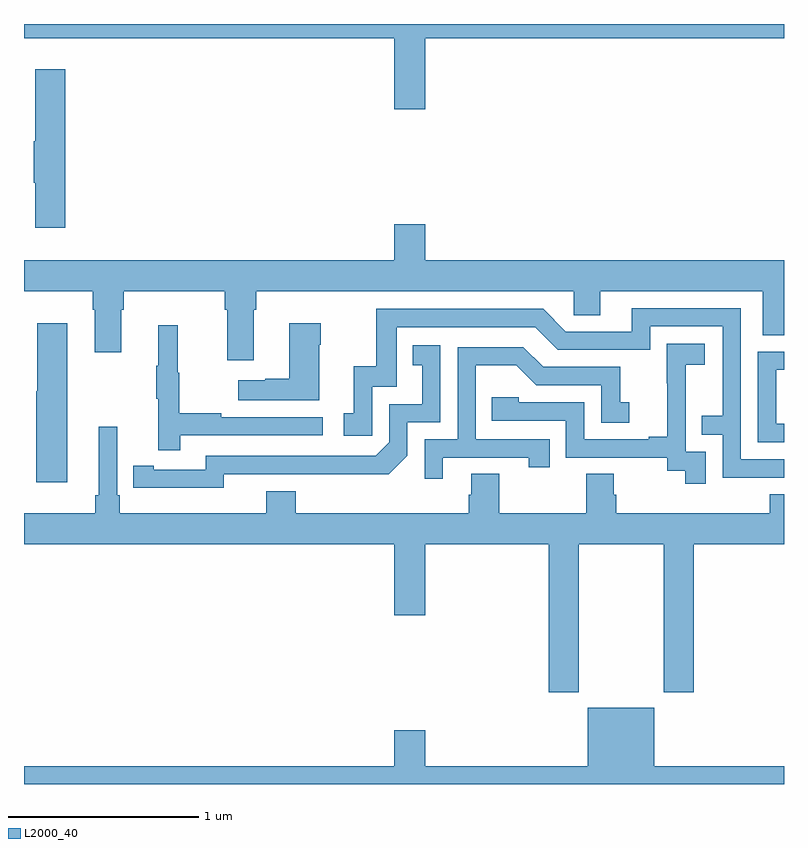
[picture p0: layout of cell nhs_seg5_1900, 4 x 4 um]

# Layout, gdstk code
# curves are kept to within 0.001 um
import gdstk
lib = gdstk.Library(unit=1e-6, precision=1e-09)
def P(c, l, *ps):  # polygons
    for p in ps: c.add(gdstk.Polygon(p, *l))
L2000_40 = (2000, 40)

nhs_seg5_1900 = lib.new_cell('nhs_seg5_1900')
P(nhs_seg5_1900, L2000_40, [(225.112,892.724),(227,892.724),(227,892.799),(223,892.799),(223,892.724),(224.948,892.724),(224.948,892.35),(225.112,892.35)],
  [(223.217,892.561),(223.058,892.561),(223.058,892.181),(223.051,892.181),(223.051,891.964),(223.058,891.964),(223.058,891.726),(223.217,891.726)],
  [(224.209,891.296),(224.222,891.296),(224.222,891.392),(225.894,891.392),(225.894,891.265),(226.033,891.265),(226.033,891.392),(226.889,891.392),(226.889,891.16),(227,891.16),(227,891.556),(225.112,891.556),(225.112,891.745),(224.948,891.745),(224.948,891.556),(223,891.556),(223,891.392),(223.361,891.392),(223.361,891.296),(223.373,891.296),(223.373,891.072),(223.513,891.072),(223.513,891.296),(223.526,891.296),(223.526,891.392),(224.057,891.392),(224.057,891.296),(224.069,891.296),(224.069,891.03),(224.209,891.03)],
  [(227,890.508),(226.773,890.508),(226.773,891.303),(226.199,891.303),(226.199,891.18),(225.852,891.18),(225.732,891.3),(224.853,891.3),(224.853,890.998),(224.735,890.998),(224.735,890.751),(224.682,890.751),(224.682,890.631),(224.832,890.631),(224.832,890.889),(224.961,890.889),(224.961,891.204),(225.69,891.204),(225.81,891.084),(226.296,891.084),(226.296,891.207),(226.677,891.207),(226.677,890.738),(226.567,890.738),(226.567,890.637),(226.677,890.637),(226.677,890.412),(227,890.412)],
  [(223.228,891.223),(223.07,891.223),(223.07,890.865),(223.064,890.865),(223.064,890.388),(223.228,890.388)],
  [(224.554,891.11),(224.562,891.11),(224.562,891.223),(224.396,891.223),(224.396,890.933),(224.27,890.933),(224.27,890.923),(224.127,890.923),(224.127,890.819),(224.554,890.819)],
  [(223.823,890.634),(224.572,890.634),(224.572,890.73),(224.039,890.73),(224.039,890.75),(223.816,890.75),(223.816,890.964),(223.808,890.964),(223.808,891.214),(223.706,891.214),(223.706,891.001),(223.695,891.001),(223.695,890.827),(223.706,890.827),(223.706,890.556),(223.823,890.556)],
  [(226.587,890.547),(226.482,890.547),(226.482,890.777),(226.484,890.777),(226.484,891.005),(226.582,891.005),(226.582,891.115),(226.384,891.115),(226.384,890.909),(226.385,890.909),(226.385,890.626),(226.289,890.626),(226.289,890.613),(225.948,890.613),(225.948,890.808),(225.603,890.808),(225.603,890.835),(225.463,890.835),(225.463,890.712),(225.852,890.712),(225.852,890.517),(226.386,890.517),(226.386,890.449),(226.479,890.449),(226.479,890.379),(226.587,890.379)],
  [(224.052,890.43),(224.92,890.429),(225.018,890.526),(225.018,890.703),(225.192,890.703),(225.192,891.109),(225.046,891.109),(225.046,891.003),(225.095,891.003),(225.095,890.799),(224.922,890.799),(224.922,890.598),(224.85,890.526),(223.956,890.526),(223.956,890.454),(223.684,890.454),(223.684,890.474),(223.576,890.474),(223.576,890.358),(224.052,890.357)],
  [(225.205,890.517),(225.656,890.517),(225.656,890.466),(225.767,890.466),(225.767,890.613),(225.378,890.613),(225.378,891.002),(225.592,891.002),(225.696,890.898),(226.038,890.898),(226.038,890.7),(226.186,890.7),(226.186,890.809),(226.137,890.809),(226.137,890.994),(225.733,890.994),(225.628,891.099),(225.282,891.099),(225.282,890.613),(225.108,890.613),(225.108,890.406),(225.205,890.406)],
  [(227,890.694),(226.959,890.694),(226.959,890.979),(227,890.979),(227,891.075),(226.863,891.075),(226.863,890.598),(227,890.598)],
  [(225.921,890.06),(226.366,890.06),(226.366,889.281),(226.526,889.281),(226.526,890.06),(227,890.06),(227,890.323),(226.925,890.323),(226.925,890.224),(226.118,890.224),(226.118,890.322),(226.105,890.322),(226.105,890.432),(225.958,890.432),(225.958,890.224),(225.501,890.224),(225.501,890.432),(225.353,890.432),(225.353,890.322),(225.341,890.322),(225.341,890.224),(224.429,890.224),(224.429,890.341),(224.276,890.341),(224.276,890.224),(223.505,890.224),(223.505,890.32),(223.491,890.32),(223.491,890.68),(223.394,890.68),(223.394,890.32),(223.375,890.32),(223.375,890.224),(223,890.224),(223,890.06),(224.948,890.06),(224.948,889.686),(225.112,889.686),(225.112,890.06),(225.761,890.06),(225.761,889.281),(225.921,889.281)],
  [(227,888.892),(226.318,888.892),(226.318,889.201),(225.968,889.201),(225.968,888.892),(225.112,888.892),(225.112,889.081),(224.948,889.081),(224.948,888.892),(223,888.892),(223,888.799),(227,888.799)])

lib.write_gds('nhs_seg5_1900.gds')
